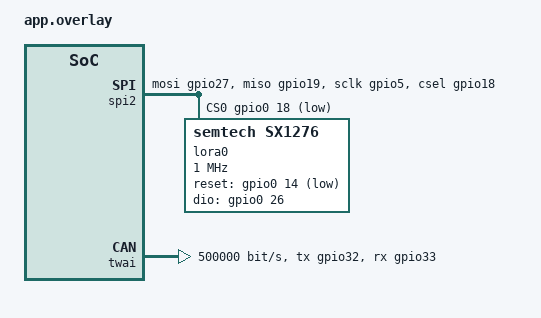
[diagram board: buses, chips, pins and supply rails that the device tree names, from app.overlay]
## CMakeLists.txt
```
cmake_minimum_required(VERSION 3.20.0)
find_package(Zephyr REQUIRED HINTS $ENV{ZEPHYR_BASE})

project(esp32_lora_can_bridge)

target_sources(app PRIVATE src/main.c)
```

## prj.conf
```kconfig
# CAN (ESP32 TWAI — Classic CAN 2.0B, 500kbps)
CONFIG_CAN=y
CONFIG_CAN_FD_MODE=n

# LoRa (SX1276)
CONFIG_LORA=y
CONFIG_LORA_SX127X=y

# SPI (LoRa SX1276 interface)
CONFIG_SPI=y

# GPIO
CONFIG_GPIO=y

# Core
CONFIG_MAIN_STACK_SIZE=4096
CONFIG_MAIN_THREAD_PRIORITY=3

# Logging
CONFIG_STDOUT_CONSOLE=y
CONFIG_LOG=y
CONFIG_CONSOLE=y
CONFIG_UART_CONSOLE=y
```

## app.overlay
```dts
/*
 * TTGO LoRa 32 V2.1 — Zephyr Device Tree Overlay
 *
 * LoRa SX1276 (HSPI / SPI2):
 *   SCK  → GPIO5
 *   MISO → GPIO19
 *   MOSI → GPIO27
 *   CS   → GPIO18
 *   RST  → GPIO14
 *   DIO0 → GPIO26
 *
 * ESP32 TWAI (internal CAN controller):
 *   TX → GPIO32  (external CAN transceiver, e.g. SN65HVD230)
 *   RX → GPIO33
 *
 * ⚠ 120Ω 종단 저항 CAN 버스 양단 필수
 */

/ {
    chosen {
        zephyr,canbus = &twai;
    };
};

/* ── pinctrl definitions ─────────────────────────────────────────────────── */
&pinctrl {
    /* SPI2 (HSPI) — LoRa SX1276 */
    spim2_mosi_gpio27: spim2_mosi_gpio27 {
        pinmux = <SPIM2_MOSI_GPIO27>;
    };
    spim2_miso_gpio19: spim2_miso_gpio19 {
        pinmux = <SPIM2_MISO_GPIO19>;
    };
    spim2_sclk_gpio5: spim2_sclk_gpio5 {
        pinmux = <SPIM2_SCLK_GPIO5>;
    };
    spim2_csel_gpio18: spim2_csel_gpio18 {
        pinmux = <SPIM2_CSEL_GPIO18>;
    };

    /* TWAI — CAN 2.0B */
    twai_tx_gpio32: twai_tx_gpio32 {
        pinmux = <TWAI_TX_GPIO32>;
    };
    twai_rx_gpio33: twai_rx_gpio33 {
        pinmux = <TWAI_RX_GPIO33>;
    };
};

/* ── SPI2 (HSPI): LoRa SX1276 ───────────────────────────────────────────── */
&spi2 {
    status = "okay";
    pinctrl-0 = <&spim2_mosi_gpio27 &spim2_miso_gpio19
                 &spim2_sclk_gpio5  &spim2_csel_gpio18>;
    pinctrl-names = "default";
    cs-gpios = <&gpio0 18 GPIO_ACTIVE_LOW>;

    lora0: sx1276@0 {
        compatible = "semtech,sx1276";
        reg = <0>;
        spi-max-frequency = <1000000>;

        /* RST: GPIO14 (active-low) */
        reset-gpios = <&gpio0 14 GPIO_ACTIVE_LOW>;

        /* DIO0: GPIO26 (packet done / RX done interrupt) */
        dio-gpios = <&gpio0 26 (GPIO_PULL_DOWN | GPIO_ACTIVE_HIGH)>;

        /* PA_BOOST 출력 (최대 +17dBm) */
        power-amplifier-output = "pa-boost";
    };
};

/* ── TWAI: CAN 2.0B 500kbps ─────────────────────────────────────────────── */
&twai {
    status = "okay";
    pinctrl-0 = <&twai_tx_gpio32 &twai_rx_gpio33>;
    pinctrl-names = "default";
    bus-speed = <500000>;
};
```

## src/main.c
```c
#include <zephyr/device.h>
#include <zephyr/devicetree.h>
#include <zephyr/drivers/can.h>
#include <zephyr/drivers/lora.h>
#include <zephyr/kernel.h>
#include <string.h>

/* ── CAN Protocol IDs ─────────────────────────────────────────────────────── */
/* TX: ESP32 → RPi4B (via shared CAN bus) */
#define CAN_ID_TARGET_GPS    0x100  /* lat×1e7, lon×1e7 (int32 LE), 8 bytes */
#define CAN_ID_TARGET_STATUS 0x101  /* alt(int16 LE) + rssi(int16 LE) + lq(uint8), 5 bytes */

/* ── LoRa Configuration ───────────────────────────────────────────────────── */
/*
 * LoRa 수신 패킷 형식 (드론/기구에서 송신):
 *   [0-3]  lat  int32 LE  위도  × 1e7
 *   [4-7]  lon  int32 LE  경도  × 1e7
 *   [8-9]  alt  int16 LE  고도  (m)
 *   [10]   stat uint8     상태 플래그 (bit0=GPS fix, bit1=arm)
 *   총 11 bytes
 */
#define LORA_PACKET_SIZE     11
#define LORA_FREQ_HZ         923000000  /* 한국 ISM 923MHz */
#define LORA_TX_POWER        17         /* dBm (PA_BOOST) */

/* ── Devices ──────────────────────────────────────────────────────────────── */
static const struct device *can_dev  = DEVICE_DT_GET(DT_NODELABEL(twai));
static const struct device *lora_dev = DEVICE_DT_GET(DT_NODELABEL(lora0));

/* ── CAN TX Helper ────────────────────────────────────────────────────────── */
static void can_send_frame(uint32_t id, const uint8_t *data, uint8_t dlc)
{
    struct can_frame frame = {0};
    frame.id  = id;
    frame.dlc = dlc;
    memcpy(frame.data, data, dlc);
    can_send(can_dev, &frame, K_MSEC(5), NULL, NULL);
}

/* ── LoRa → CAN Bridge ────────────────────────────────────────────────────── */
static void process_lora_packet(const uint8_t *buf, int len, int16_t rssi)
{
    if (len < LORA_PACKET_SIZE) {
        printk("LoRa: short packet (%d bytes), discarded\n", len);
        return;
    }

    int32_t lat, lon;
    int16_t alt;
    uint8_t stat;

    memcpy(&lat,  &buf[0], 4);
    memcpy(&lon,  &buf[4], 4);
    memcpy(&alt,  &buf[8], 2);
    stat = buf[10];

    /* 0x100: Target GPS */
    uint8_t gps_buf[8];
    memcpy(gps_buf,     &lat, 4);
    memcpy(gps_buf + 4, &lon, 4);
    can_send_frame(CAN_ID_TARGET_GPS, gps_buf, 8);

    /* 0x101: Target Status (alt + rssi + link_quality) */
    uint8_t status_buf[5];
    memcpy(status_buf,     &alt,  2);
    memcpy(status_buf + 2, &rssi, 2);
    status_buf[4] = stat;
    can_send_frame(CAN_ID_TARGET_STATUS, status_buf, 5);

    printk("LoRa RX → CAN: lat=%d lon=%d alt=%d rssi=%d stat=%u\n",
           lat, lon, (int)alt, (int)rssi, stat);
}

/* ── Main ─────────────────────────────────────────────────────────────────── */
int main(void)
{
    printk("ESP32 LoRa-CAN Bridge — Zephyr RTOS (TTGO LoRa32 V2.1)\n");
    printk("CAN: TWAI 500kbps (TX=GPIO32, RX=GPIO33)\n");
    printk("LoRa: SX1276 %.0fMHz SF7 BW125 CR4/5\n",
           LORA_FREQ_HZ / 1e6);

    /* ── CAN init ────────────────────────────────────────────────────────── */
    if (!device_is_ready(can_dev)) {
        printk("TWAI CAN device not ready!\n");
        return -1;
    }
    can_start(can_dev);
    printk("TWAI CAN OK\n");

    /* ── LoRa init ───────────────────────────────────────────────────────── */
    if (!device_is_ready(lora_dev)) {
        printk("LoRa device not ready!\n");
        return -1;
    }

    struct lora_modem_config lora_cfg = {
        .frequency    = LORA_FREQ_HZ,
        .bandwidth    = BW_125_KHZ,
        .datarate     = SF_7,
        .preamble_len = 8,
        .coding_rate  = CR_4_5,
        .tx_power     = LORA_TX_POWER,
        .tx           = false,   /* RX 모드 */
    };
    if (lora_config(lora_dev, &lora_cfg) < 0) {
        printk("LoRa config failed!\n");
        return -1;
    }
    printk("LoRa OK — listening on %.0f MHz\n", LORA_FREQ_HZ / 1e6);

    /* ── RX Loop ─────────────────────────────────────────────────────────── */
    uint8_t buf[64];
    int16_t rssi;
    int8_t  snr;

    while (1) {
        /* Blocking receive, 1s timeout → 계속 polling */
        int len = lora_recv(lora_dev, buf, sizeof(buf), K_MSEC(1000),
                            &rssi, &snr);
        if (len > 0) {
            process_lora_packet(buf, len, rssi);
        }
        /* timeout(len==0) or error(len<0): 그냥 재시도 */
    }

    return 0;
}
```
